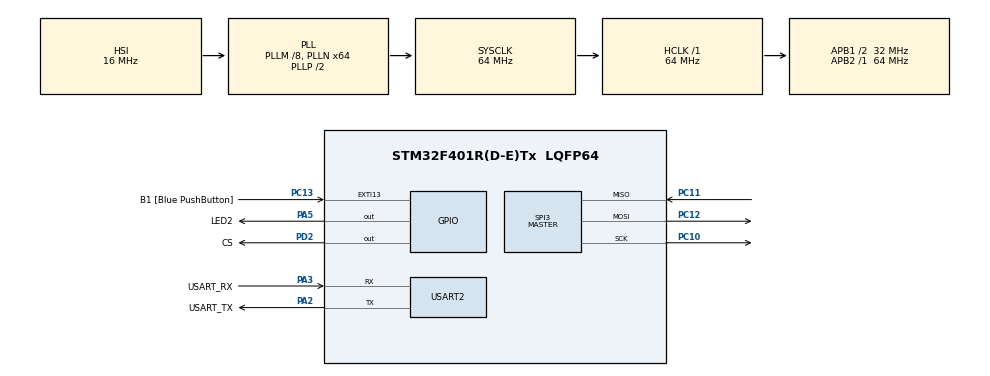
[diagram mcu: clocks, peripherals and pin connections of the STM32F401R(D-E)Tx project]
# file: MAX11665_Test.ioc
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Mcu.Family=STM32F4
Mcu.Name=STM32F401R(D-E)Tx
Mcu.Package=LQFP64
NVIC.PriorityGroup=NVIC_PRIORITYGROUP_4
PA13.GPIO_Label=TMS
PA13.Mode=Trace_Asynchronous_SW
PA13.Signal=SYS_JTMS-SWDIO
PA14.GPIO_Label=TCK
PA14.Mode=Trace_Asynchronous_SW
PA14.Signal=SYS_JTCK-SWCLK
PA2.GPIO_Label=USART_TX
PA2.GPIO_Mode=GPIO_MODE_AF_PP
PA2.GPIO_PuPd=GPIO_NOPULL
PA2.GPIO_Speed=GPIO_SPEED_FREQ_LOW
PA2.Mode=Asynchronous
PA2.Signal=USART2_TX
PA3.GPIO_Label=USART_RX
PA3.GPIO_Mode=GPIO_MODE_AF_PP
PA3.GPIO_PuPd=GPIO_NOPULL
PA3.GPIO_Speed=GPIO_SPEED_FREQ_LOW
PA3.Mode=Asynchronous
PA3.Signal=USART2_RX
PA5.GPIO_Label=LED2
PA5.Signal=GPIO_Output
PB3.GPIO_Label=SWO
PB3.Mode=Trace_Asynchronous_SW
PB3.Signal=SYS_JTDO-SWO
PC10.Mode=Full_Duplex_Master
PC10.Signal=SPI3_SCK
PC11.Mode=Full_Duplex_Master
PC11.Signal=SPI3_MISO
PC12.Mode=Full_Duplex_Master
PC12.Signal=SPI3_MOSI
PC13-ANTI_TAMP.GPIO_Label=B1 [Blue PushButton]
PC13-ANTI_TAMP.GPIO_ModeDefaultEXTI=GPIO_MODE_IT_FALLING
PC13-ANTI_TAMP.GPIO_PuPd=GPIO_NOPULL
PC13-ANTI_TAMP.Signal=GPXTI13
PC14-OSC32_IN.Mode=LSE-External-Oscillator
PC14-OSC32_IN.Signal=RCC_OSC32_IN
PC15-OSC32_OUT.Mode=LSE-External-Oscillator
PC15-OSC32_OUT.Signal=RCC_OSC32_OUT
PD2.GPIO_Label=CS
PD2.Signal=GPIO_Output
PH0\ -\ OSC_IN.Mode=HSE-External-Clock-Source
PH0\ -\ OSC_IN.Signal=RCC_OSC_IN
PH1\ -\ OSC_OUT.Mode=HSE-External-Clock-Source
PH1\ -\ OSC_OUT.Signal=RCC_OSC_OUT
ProjectManager.HeapSize=0x200
ProjectManager.StackSize=0x400
ProjectManager.TargetToolchain=STM32CubeIDE
RCC.48MHZClocksFreq_Value=18285714.285714287
RCC.AHBFreq_Value=64000000
RCC.APB1CLKDivider=RCC_HCLK_DIV2
RCC.APB1Freq_Value=32000000
RCC.APB1TimFreq_Value=64000000
RCC.APB2Freq_Value=64000000
RCC.APB2TimFreq_Value=64000000
RCC.CortexFreq_Value=64000000
RCC.HCLKFreq_Value=64000000
RCC.HSE_VALUE=8000000
RCC.HSI_VALUE=16000000
RCC.PLLM=8
RCC.PLLN=64
RCC.PLLQ=7
RCC.SYSCLKFreq_VALUE=64000000
RCC.SYSCLKSource=RCC_SYSCLKSOURCE_PLLCLK
RCC.VCOOutputFreq_Value=128000000
SPI3.BaudRatePrescaler=SPI_BAUDRATEPRESCALER_8
SPI3.DataSize=SPI_DATASIZE_16BIT
SPI3.Direction=SPI_DIRECTION_2LINES
SPI3.Mode=SPI_MODE_MASTER
SPI3.VirtualType=VM_MASTER
USART2.VirtualMode=VM_ASYNC
board=NUCLEO-F401RE

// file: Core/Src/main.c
/* USER CODE BEGIN Header */
/**
  ******************************************************************************
  * @file           : main.c
  * @brief          : Main program body
  ******************************************************************************
  * @attention
  *
  * Copyright (c) 2025 STMicroelectronics.
  * All rights reserved.
  *
  * This software is licensed under terms that can be found in the LICENSE file
  * in the root directory of this software component.
  * If no LICENSE file comes with this software, it is provided AS-IS.
  *
  ******************************************************************************
  */
/* USER CODE END Header */
#include "main.h"

/* USER CODE BEGIN Includes */
#include "stdio.h"
#include "string.h"
/* USER CODE END Includes */

SPI_HandleTypeDef hspi3;

UART_HandleTypeDef huart2;

void SystemClock_Config(void);
static void MX_GPIO_Init(void);
static void MX_USART2_UART_Init(void);
static void MX_SPI3_Init(void);

/* USER CODE BEGIN 0 */
float convert_to_voltage(uint16_t result, float vref) {
    return (result / 4095.0) * vref;
}
/* USER CODE END 0 */

int main(void)
{

  /* MCU Configuration--------------------------------------------------------*/

  /* Reset of all peripherals, Initializes the Flash interface and the Systick. */
  HAL_Init();

  /* Configure the system clock */
  SystemClock_Config();

  /* Initialize all configured peripherals */
  MX_GPIO_Init();
  MX_USART2_UART_Init();
  MX_SPI3_Init();
  /* USER CODE BEGIN 2 */
  HAL_GPIO_WritePin(CS_GPIO_Port, CS_Pin, SET);
  uint8_t rx_data[2] = {0};
  float vref = 3.3f;
  /* USER CODE END 2 */

  /* Infinite loop */
  while (1)
  {

    /* USER CODE BEGIN 3 */

	HAL_GPIO_WritePin(CS_GPIO_Port, CS_Pin, RESET);
	HAL_SPI_Receive(&hspi3, rx_data, 1, 100); // data size could be 1 or 2 depending on the IOC SPI config. Cheack trying the CHIP.
	//HAL_SPI_Receive(&hspi3, &rx_data[0], 1, 100);
	//HAL_SPI_Receive(&hspi3, &rx_data[1], 1, 100);
	HAL_GPIO_WritePin(CS_GPIO_Port, CS_Pin, SET);

	// Paso 1: quitar el bit más significativo de rx_data[1] (dejar solo los 7 bits de la derecha)
	uint8_t upper = rx_data[1] & 0x7F;  // 0x7F = 01111111
	//uint8_t upper = rx_data[0] & 0x7F;  // 0x7F = 01111111

	// Paso 2: quitar los últimos 3 bits de rx_data[0] (dejar solo los 5 bits más altos)
	uint8_t lower = rx_data[0] >> 3;  // desplaza 3 bits a la derecha
	//uint8_t lower = rx_data[1] >> 3;  // desplaza 3 bits a la derecha

	// Paso 3: combinar
	uint16_t result = ((uint16_t)upper << 5) | lower;

	float voltage = convert_to_voltage(result, vref);
	char buffer[50];
	sprintf(buffer, "Voltaje: %.3f V\r\n", voltage);
	HAL_UART_Transmit(&huart2, (uint8_t*)buffer, strlen(buffer), HAL_MAX_DELAY);

	HAL_Delay(1000);

  }
  /* USER CODE END 3 */
}

void SystemClock_Config(void)
{
  RCC_OscInitTypeDef RCC_OscInitStruct = {0};
  RCC_ClkInitTypeDef RCC_ClkInitStruct = {0};

  /** Configure the main internal regulator output voltage
  */
  __HAL_RCC_PWR_CLK_ENABLE();
  __HAL_PWR_VOLTAGESCALING_CONFIG(PWR_REGULATOR_VOLTAGE_SCALE2);

  /** Initializes the RCC Oscillators according to the specified parameters
  * in the RCC_OscInitTypeDef structure.
  */
  RCC_OscInitStruct.OscillatorType = RCC_OSCILLATORTYPE_HSI;
  RCC_OscInitStruct.HSIState = RCC_HSI_ON;
  RCC_OscInitStruct.HSICalibrationValue = RCC_HSICALIBRATION_DEFAULT;
  RCC_OscInitStruct.PLL.PLLState = RCC_PLL_ON;
  RCC_OscInitStruct.PLL.PLLSource = RCC_PLLSOURCE_HSI;
  RCC_OscInitStruct.PLL.PLLM = 8;
  RCC_OscInitStruct.PLL.PLLN = 64;
  RCC_OscInitStruct.PLL.PLLP = RCC_PLLP_DIV2;
  RCC_OscInitStruct.PLL.PLLQ = 7;
  if (HAL_RCC_OscConfig(&RCC_OscInitStruct) != HAL_OK)
  {
    Error_Handler();
  }

  /** Initializes the CPU, AHB and APB buses clocks
  */
  RCC_ClkInitStruct.ClockType = RCC_CLOCKTYPE_HCLK|RCC_CLOCKTYPE_SYSCLK
                              |RCC_CLOCKTYPE_PCLK1|RCC_CLOCKTYPE_PCLK2;
  RCC_ClkInitStruct.SYSCLKSource = RCC_SYSCLKSOURCE_PLLCLK;
  RCC_ClkInitStruct.AHBCLKDivider = RCC_SYSCLK_DIV1;
  RCC_ClkInitStruct.APB1CLKDivider = RCC_HCLK_DIV2;
  RCC_ClkInitStruct.APB2CLKDivider = RCC_HCLK_DIV1;

  if (HAL_RCC_ClockConfig(&RCC_ClkInitStruct, FLASH_LATENCY_2) != HAL_OK)
  {
    Error_Handler();
  }
}

static void MX_SPI3_Init(void)
{

  /* SPI3 parameter configuration*/
  hspi3.Instance = SPI3;
  hspi3.Init.Mode = SPI_MODE_MASTER;
  hspi3.Init.Direction = SPI_DIRECTION_2LINES;
  hspi3.Init.DataSize = SPI_DATASIZE_16BIT;
  hspi3.Init.CLKPolarity = SPI_POLARITY_LOW;
  hspi3.Init.CLKPhase = SPI_PHASE_1EDGE;
  hspi3.Init.NSS = SPI_NSS_SOFT;
  hspi3.Init.BaudRatePrescaler = SPI_BAUDRATEPRESCALER_8;
  hspi3.Init.FirstBit = SPI_FIRSTBIT_MSB;
  hspi3.Init.TIMode = SPI_TIMODE_DISABLE;
  hspi3.Init.CRCCalculation = SPI_CRCCALCULATION_DISABLE;
  hspi3.Init.CRCPolynomial = 10;
  if (HAL_SPI_Init(&hspi3) != HAL_OK)
  {
    Error_Handler();
  }

}

static void MX_USART2_UART_Init(void)
{

  huart2.Instance = USART2;
  huart2.Init.BaudRate = 115200;
  huart2.Init.WordLength = UART_WORDLENGTH_8B;
  huart2.Init.StopBits = UART_STOPBITS_1;
  huart2.Init.Parity = UART_PARITY_NONE;
  huart2.Init.Mode = UART_MODE_TX_RX;
  huart2.Init.HwFlowCtl = UART_HWCONTROL_NONE;
  huart2.Init.OverSampling = UART_OVERSAMPLING_16;
  if (HAL_UART_Init(&huart2) != HAL_OK)
  {
    Error_Handler();
  }

}

static void MX_GPIO_Init(void)
{
  GPIO_InitTypeDef GPIO_InitStruct = {0};

  /* GPIO Ports Clock Enable */
  __HAL_RCC_GPIOC_CLK_ENABLE();
  __HAL_RCC_GPIOH_CLK_ENABLE();
  __HAL_RCC_GPIOA_CLK_ENABLE();
  __HAL_RCC_GPIOD_CLK_ENABLE();
  __HAL_RCC_GPIOB_CLK_ENABLE();

  /*Configure GPIO pin Output Level */
  HAL_GPIO_WritePin(LED2_GPIO_Port, LED2_Pin, GPIO_PIN_RESET);

  /*Configure GPIO pin Output Level */
  HAL_GPIO_WritePin(CS_GPIO_Port, CS_Pin, GPIO_PIN_RESET);

  /*Configure GPIO pin : B1_Pin */
  GPIO_InitStruct.Pin = B1_Pin;
  GPIO_InitStruct.Mode = GPIO_MODE_IT_FALLING;
  GPIO_InitStruct.Pull = GPIO_NOPULL;
  HAL_GPIO_Init(B1_GPIO_Port, &GPIO_InitStruct);

  /*Configure GPIO pin : LED2_Pin */
  GPIO_InitStruct.Pin = LED2_Pin;
  GPIO_InitStruct.Mode = GPIO_MODE_OUTPUT_PP;
  GPIO_InitStruct.Pull = GPIO_NOPULL;
  GPIO_InitStruct.Speed = GPIO_SPEED_FREQ_LOW;
  HAL_GPIO_Init(LED2_GPIO_Port, &GPIO_InitStruct);

  /*Configure GPIO pin : CS_Pin */
  GPIO_InitStruct.Pin = CS_Pin;
  GPIO_InitStruct.Mode = GPIO_MODE_OUTPUT_PP;
  GPIO_InitStruct.Pull = GPIO_NOPULL;
  GPIO_InitStruct.Speed = GPIO_SPEED_FREQ_LOW;
  HAL_GPIO_Init(CS_GPIO_Port, &GPIO_InitStruct);

}

void Error_Handler(void)
{
  __disable_irq();
  while (1)
  {
  }
}
